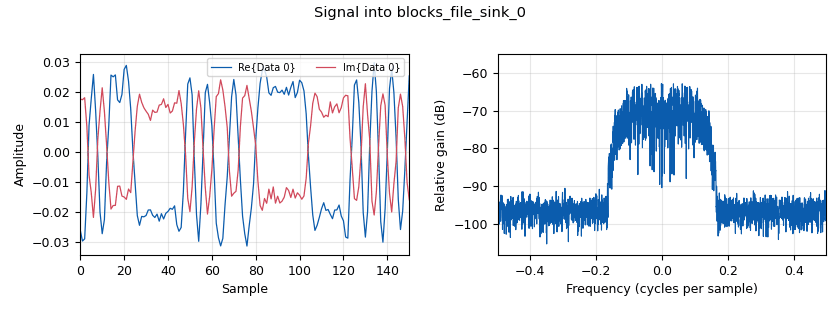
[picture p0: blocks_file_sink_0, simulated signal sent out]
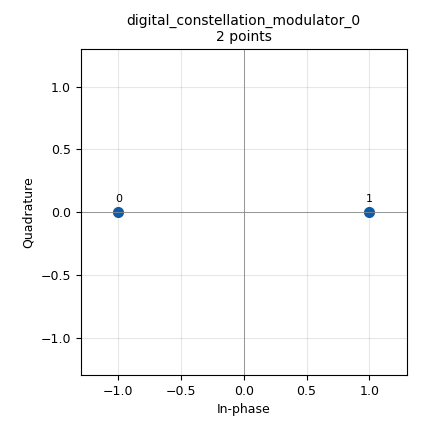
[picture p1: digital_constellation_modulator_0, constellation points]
options:
  parameters:
    generate_options: no_gui
    id: part2
    output_language: python
    run_options: run
    title: Not titled yet
  states: {}

blocks:
- name: baud_rate
  id: variable
  parameters:
    value: '1000'
  states: {}
- name: const_bpsk
  id: variable_constellation
  parameters:
    precision: '8'
    type: bpsk
  states: {}
- name: message1
  id: variable
  parameters:
    value: '"Greetings! Flag 1 is flag{cDmA_i5_fuN}. Now see what else there might be here.                 "'
  states: {}
- name: message1_bits
  id: variable
  parameters:
    value: '[int(b) for b in "".join(f"{c:08b}" for c in message1.encode())]'
  states: {}
- name: message2
  id: variable
  parameters:
    value: '"                          We meet again. Flag 2 is flag{but_wa1T_th3reS_m0re}. Until next time."'
  states: {}
- name: message2_bits
  id: variable
  parameters:
    value: '[int(b) for b in "".join(f"{c:08b}" for c in message2.encode())]'
  states: {}
- name: message3
  id: variable
  parameters:
    value: '"                              And flag 3 is flag{l0ts_0f_c0d3s!}. Bye!                         "'
  states: {}
- name: message3_bits
  id: variable
  parameters:
    value: '[int(b) for b in "".join(f"{c:08b}" for c in message3.encode())]'
  states: {}
- name: prn1
  id: variable
  parameters:
    value: '[1, 1, 0, 0, 1, 0, 0, 0, 0, 0, 1, 1, 1, 0, 0, 1, 0, 1, 0, 0, 1, 0, 0, 1, 1, 1, 1, 0, 0, 1, 0, 1, 0, 0, 0, 1, 0, 0, 1, 1, 1, 1, 1, 0, 1, 0, 1, 0, 1, 1, 0, 1, 0, 0, 0, 1, 0, 0, 0, 1, 0, 1, 0, 1, 0, 1, 0, 1, 1, 0, 0, 1, 0, 0, 0, 1, 1, 1, 1, 0, 1, 0, 0, 1, 1, 1, 1, 1, 1, 0, 1, 1, 0, 1, 1, 1, 0, 0, 1, 1, 0, 1, 1, 1, 1, 1, 0, 0, 1, 0, 1, 0, 1, 0, 1, 0, 0, 0, 0, 1, 0, 0, 0, 0, 0, 0, 0, 0, 1, 1, 1, 0, 1, 0, 1, 0, 0, 1, 0, 0, 0, 1, 0, 0, 1, 1, 0, 1, 1, 1, 1, 0, 0, 0, 0, 0, 1, 1, 1, 1, 0, 1, 0, 1, 1, 1, 0, 0, 1, 1, 0, 0, 1, 1, 1, 1, 0, 1, 1, 0, 0, 0, 0, 0, 0, 0, 1, 0, 1, 1, 1, 1, 0, 0, 1, 1, 1, 1, 1, 0, 1, 0, 1, 0, 0, 1, 1, 0, 0, 0, 1, 0, 1, 1, 0, 1, 1, 1, 0, 0, 0, 1, 1, 0, 1, 1, 1, 1, 0, 1, 0, 1, 0, 0, 0, 1, 0, 1, 0, 1, 1, 0, 0, 0, 0, 0, 1, 0, 0, 0, 0, 0, 0, 0, 0, 1, 0, 0, 0, 0, 0, 0, 1, 1, 0, 0, 0, 1, 1, 1, 0, 1, 1, 0, 0, 0, 0, 0, 0, 1, 1, 1, 0, 0, 0, 1, 1, 0, 1, 1, 1, 1, 1, 1, 1, 1, 1, 0, 1, 0, 0, 1, 1, 1, 0, 1, 0, 0, 1, 0, 1, 1, 0, 1, 1, 0, 0, 0, 0, 1, 0, 1, 0, 1, 0, 1, 1, 0, 0, 0, 1, 0, 0, 1, 1, 1, 0, 0, 1, 0, 1, 1, 0, 1, 1, 1, 0, 1, 1, 0, 0, 0, 1, 1, 1, 0, 1, 1, 1, 0, 1, 1, 1, 1, 0, 0, 0, 0, 1, 1, 0, 1, 1, 0, 0, 0, 0, 1, 1, 0, 0, 1, 0, 0, 1, 0, 0, 1, 0, 0, 0, 0, 0, 1, 1, 0, 1, 1, 0, 1, 0, 0, 1, 0, 1, 1, 0, 1, 1, 1, 1, 0, 0, 0, 1, 0, 1, 1, 1, 0, 0, 0, 0, 0, 0, 1, 0, 1, 0, 0, 1, 0, 0, 1, 1, 1, 1, 1, 1, 0, 0, 0, 0, 0, 1, 0, 1, 0, 1, 0, 1, 1, 1, 0, 0, 1, 1, 1, 1, 1, 0, 1, 0, 1, 1, 1, 1, 1, 0, 0, 1, 1, 0, 0, 1, 1, 0, 0, 0, 1, 1, 1, 0, 0, 0, 1, 1, 0, 1, 1, 0, 1, 0, 1, 0, 1, 0, 1, 1, 0, 1, 1, 0, 0, 0, 1, 1, 0, 1, 1, 1, 0, 1, 1, 1, 0, 0, 0, 0, 0, 0, 0, 0, 0, 0, 0, 1, 0, 1, 1, 0, 0, 1, 1, 0, 1, 1, 0, 0, 1, 1, 1, 0, 1, 1, 0, 1, 0, 0, 0, 0, 0, 1, 0, 1, 0, 1, 0, 1, 1, 1, 0, 1, 0, 1, 1, 1, 0, 1, 0, 0, 1, 0, 1, 0, 0, 0, 1, 1, 1, 0, 0, 1, 1, 1, 0, 0, 0, 1, 0, 0, 1, 0, 1, 0, 0, 0, 1, 0, 1, 0, 0, 1, 0, 1, 1, 0, 1, 0, 0, 0, 0, 1, 0, 1, 0, 1, 1, 0, 1, 1, 0, 1, 0, 1, 1, 0, 1, 1, 0, 0, 0, 1, 1, 1, 0, 0, 1, 1, 1, 1, 0, 1, 1, 0, 0, 1, 0, 0, 0, 0, 1, 1, 1, 1, 1, 1, 0, 0, 1, 0, 1, 1, 0, 1, 0, 0, 0, 1, 0, 0, 0, 0, 1, 1, 1, 1, 1, 0, 1, 0, 1, 0, 1, 1, 1, 0, 0, 1, 1, 0, 0, 1, 0, 0, 1, 0, 0, 1, 0, 0, 1, 0, 1, 1, 1, 1, 1, 1, 1, 1, 1, 1, 0, 0, 0, 0, 1, 1, 1, 1, 1, 0, 1, 1, 1, 1, 0, 0, 0, 1, 1, 0, 1, 1, 1, 0, 0, 1, 0, 1, 1, 0, 0, 0, 0, 1, 1, 1, 0, 0, 1, 0, 1, 0, 1, 0, 0, 0, 0, 1, 0, 1, 0, 0, 1, 0, 1, 0, 1, 1, 1, 1, 1, 1, 0, 0, 0, 1, 1, 1, 1, 0, 1, 1, 0, 1, 0, 0, 1, 1, 1, 0, 1, 1, 0, 0, 1, 1, 1, 1, 1, 1, 0, 1, 1, 1, 1, 1, 0, 1, 0, 0, 0, 1, 1, 0, 0, 0, 1, 1, 1, 1, 1, 0, 0, 0, 0, 0, 0, 0, 1, 0, 0, 1, 0, 1, 0, 0, 0, 1, 0, 1, 1, 0, 1, 0, 0, 0, 1, 0, 0, 0, 1, 0, 0, 1, 1, 0, 1, 1, 0, 0, 0, 0, 0, 0, 1, 1, 1, 0, 1, 1, 0, 1, 0, 0, 0, 1, 1, 0, 1, 0, 0, 0, 1, 0, 0, 1, 0, 0, 0, 1, 1, 1, 0, 0, 0, 1, 0, 1, 1, 0, 0, 1, 1, 0, 0, 1, 0, 0, 1, 1, 1, 1, 0, 0, 1, 1, 0, 1, 1, 1, 1, 1, 1, 0, 0, 1, 1, 0, 0, 1, 0, 1, 0, 0, 1, 1, 0, 1, 0, 0, 1, 1, 0, 1, 0, 1, 1, 1, 1, 0, 0, 1, 1, 0, 1, 1, 0, 1, 0, 1, 0, 0, 1, 1, 1, 0, 1, 1, 1, 1, 0, 0, 0, 1, 1, 0, 1, 0, 1, 0, 0, 0, 1, 0, 0, 0, 0, 1, 0, 0, 0, 1, 0, 0, 1, 0, 0, 1, 1, 1, 0, 0, 0, 0, 1, 1, 1, 0, 0, 1, 0, 1, 0, 0, 0, 1, 0, 0, 0, 0]'
  states: {}
- name: prn2
  id: variable
  parameters:
    value: '[1, 1, 1, 0, 0, 1, 0, 0, 0, 0, 1, 1, 1, 0, 0, 0, 0, 0, 1, 1, 1, 1, 1, 0, 1, 0, 0, 1, 1, 0, 0, 1, 0, 1, 1, 0, 1, 1, 1, 1, 1, 1, 0, 0, 1, 0, 1, 1, 0, 0, 1, 0, 1, 1, 1, 1, 1, 1, 1, 1, 0, 1, 0, 0, 1, 0, 1, 1, 0, 0, 0, 0, 1, 0, 0, 0, 1, 0, 0, 0, 1, 0, 1, 1, 0, 0, 0, 1, 1, 1, 1, 0, 0, 0, 1, 1, 0, 0, 0, 0, 0, 1, 1, 0, 0, 1, 1, 1, 0, 0, 0, 0, 1, 0, 0, 0, 1, 1, 1, 0, 0, 0, 1, 0, 0, 0, 1, 1, 1, 0, 1, 0, 0, 1, 1, 1, 1, 0, 0, 0, 0, 0, 1, 0, 1, 1, 0, 1, 0, 0, 0, 0, 1, 1, 0, 1, 0, 0, 1, 0, 1, 1, 1, 1, 0, 0, 0, 0, 1, 1, 1, 0, 0, 0, 0, 0, 1, 1, 1, 1, 1, 0, 0, 0, 1, 1, 0, 1, 1, 1, 0, 0, 1, 1, 0, 0, 0, 1, 1, 0, 1, 0, 1, 1, 1, 0, 0, 0, 0, 0, 0, 0, 1, 1, 1, 1, 0, 0, 0, 1, 1, 0, 1, 0, 0, 0, 1, 0, 1, 1, 1, 0, 0, 1, 0, 0, 0, 1, 1, 0, 0, 1, 1, 0, 0, 1, 1, 0, 1, 1, 0, 1, 0, 0, 1, 1, 0, 0, 0, 0, 0, 1, 0, 1, 1, 1, 1, 0, 0, 0, 1, 0, 0, 1, 0, 0, 1, 0, 1, 0, 1, 0, 0, 0, 1, 1, 0, 0, 0, 0, 0, 0, 1, 0, 1, 0, 1, 0, 1, 0, 0, 0, 0, 0, 1, 0, 0, 1, 1, 1, 1, 0, 0, 0, 0, 0, 1, 0, 0, 1, 0, 1, 1, 1, 1, 1, 1, 1, 1, 1, 1, 1, 1, 0, 1, 1, 1, 0, 1, 0, 1, 0, 1, 1, 0, 1, 0, 1, 0, 1, 0, 0, 0, 0, 0, 1, 0, 1, 0, 1, 0, 0, 1, 0, 1, 0, 1, 0, 1, 0, 1, 0, 0, 0, 0, 1, 0, 0, 1, 0, 0, 0, 1, 1, 0, 0, 1, 0, 0, 0, 0, 1, 0, 1, 0, 0, 0, 0, 1, 0, 0, 1, 0, 1, 0, 0, 1, 1, 0, 1, 1, 1, 0, 0, 0, 0, 0, 0, 1, 1, 1, 0, 0, 1, 0, 1, 0, 1, 0, 1, 0, 0, 1, 1, 0, 1, 1, 1, 0, 0, 0, 0, 0, 1, 1, 1, 1, 0, 1, 1, 1, 0, 1, 1, 0, 0, 0, 0, 0, 0, 1, 0, 0, 0, 1, 0, 0, 0, 1, 0, 1, 1, 0, 1, 0, 1, 1, 1, 0, 0, 1, 1, 0, 1, 0, 1, 0, 0, 1, 0, 0, 1, 1, 0, 0, 1, 0, 0, 1, 1, 1, 0, 1, 1, 0, 1, 1, 1, 1, 1, 0, 1, 0, 1, 1, 0, 0, 0, 0, 0, 1, 0, 0, 1, 0, 1, 1, 1, 1, 0, 0, 1, 1, 1, 0, 0, 0, 0, 1, 0, 1, 1, 0, 0, 0, 0, 1, 1, 0, 1, 0, 0, 0, 1, 1, 0, 1, 0, 1, 1, 0, 0, 0, 0, 0, 0, 1, 0, 0, 1, 0, 1, 1, 1, 0, 1, 1, 0, 0, 0, 1, 0, 1, 0, 0, 1, 0, 1, 1, 0, 1, 1, 1, 0, 1, 0, 0, 1, 0, 1, 1, 0, 1, 1, 0, 0, 1, 1, 1, 1, 1, 0, 0, 0, 0, 0, 1, 0, 0, 0, 1, 0, 0, 0, 1, 0, 1, 0, 1, 1, 0, 1, 0, 0, 1, 0, 1, 0, 0, 0, 1, 1, 1, 0, 1, 0, 0, 1, 1, 1, 0, 1, 1, 0, 0, 1, 0, 0, 1, 0, 0, 0, 1, 1, 1, 1, 1, 0, 1, 0, 1, 1, 1, 1, 1, 0, 1, 1, 1, 1, 0, 1, 1, 0, 0, 0, 1, 1, 1, 0, 1, 0, 1, 1, 1, 0, 1, 0, 1, 0, 0, 1, 1, 0, 1, 1, 1, 1, 0, 0, 1, 1, 0, 1, 0, 1, 0, 0, 1, 0, 1, 1, 1, 0, 1, 0, 1, 1, 1, 1, 0, 0, 0, 0, 0, 1, 1, 1, 1, 0, 1, 1, 1, 1, 1, 0, 1, 1, 0, 1, 1, 1, 1, 0, 1, 0, 0, 0, 1, 1, 1, 1, 1, 0, 0, 1, 1, 0, 1, 1, 0, 1, 1, 1, 1, 0, 0, 0, 1, 0, 0, 0, 0, 1, 0, 1, 1, 0, 1, 0, 1, 1, 0, 1, 0, 0, 0, 0, 1, 1, 1, 1, 0, 0, 1, 1, 0, 0, 1, 0, 1, 1, 0, 0, 1, 1, 0, 0, 0, 0, 0, 1, 1, 0, 0, 0, 0, 1, 0, 0, 0, 0, 1, 1, 1, 1, 1, 1, 0, 1, 0, 1, 1, 0, 0, 1, 1, 1, 1, 1, 0, 1, 0, 0, 1, 1, 0, 0, 1, 1, 1, 0, 1, 0, 1, 0, 0, 0, 1, 0, 1, 1, 1, 1, 0, 1, 0, 0, 0, 0, 1, 1, 0, 0, 1, 1, 1, 1, 1, 0, 1, 0, 0, 0, 0, 0, 1, 0, 0, 1, 1, 1, 1, 0, 1, 0, 0, 1, 1, 0, 0, 1, 0, 1, 1, 1, 1, 1, 0, 1, 1, 1, 0, 0, 1, 0, 1, 1, 0, 1, 1, 0, 1, 0, 0, 1, 1, 1, 1, 0, 1, 1, 0, 0, 1, 1, 1, 0, 0, 1, 1, 1, 1, 0, 0, 1, 0, 1, 1, 0, 1, 1, 1, 0, 0, 1, 1, 0, 0, 1, 1, 0, 1, 0, 1, 1, 1, 1, 1, 0, 1, 1, 1, 1, 0, 1, 1, 0, 1, 0, 0, 1, 0, 1, 0, 0, 1, 0, 1, 1, 0, 1, 0, 0, 0, 0, 0, 0, 1, 0, 1, 0, 0, 0, 0, 1, 1, 0, 0, 1, 0, 0, 0]'
  states: {}
- name: prn3
  id: variable
  parameters:
    value: '[1, 1, 1, 1, 0, 0, 1, 0, 0, 0, 1, 1, 1, 0, 0, 0, 1, 0, 0, 0, 0, 1, 0, 1, 0, 0, 1, 0, 0, 1, 1, 1, 0, 1, 0, 1, 0, 0, 0, 1, 1, 1, 0, 1, 1, 0, 1, 1, 1, 1, 0, 1, 0, 0, 0, 0, 1, 0, 0, 0, 0, 1, 0, 0, 0, 1, 0, 0, 0, 1, 0, 0, 0, 1, 0, 0, 0, 0, 1, 1, 1, 0, 1, 0, 0, 1, 1, 0, 1, 1, 0, 0, 1, 0, 0, 1, 0, 0, 0, 1, 1, 1, 1, 0, 1, 0, 1, 0, 1, 1, 0, 1, 1, 0, 0, 1, 1, 0, 0, 1, 1, 0, 1, 1, 0, 0, 1, 0, 0, 0, 0, 0, 0, 0, 0, 1, 0, 1, 1, 0, 0, 0, 0, 1, 1, 1, 0, 1, 0, 1, 1, 1, 1, 0, 1, 1, 1, 1, 0, 0, 0, 0, 1, 0, 0, 1, 1, 0, 1, 1, 1, 1, 0, 1, 1, 1, 0, 0, 1, 1, 0, 1, 0, 0, 1, 0, 1, 0, 0, 1, 0, 1, 0, 0, 1, 1, 1, 0, 1, 0, 1, 0, 1, 1, 0, 1, 1, 1, 0, 0, 0, 1, 1, 1, 1, 0, 0, 1, 1, 1, 0, 1, 0, 0, 0, 1, 0, 0, 0, 0, 1, 1, 1, 1, 1, 0, 1, 1, 1, 1, 1, 0, 0, 1, 0, 1, 0, 0, 1, 0, 1, 1, 1, 0, 1, 0, 0, 0, 0, 0, 0, 1, 1, 0, 1, 0, 0, 1, 1, 1, 0, 1, 1, 0, 1, 0, 1, 1, 1, 1, 0, 0, 1, 0, 1, 0, 0, 1, 0, 1, 1, 1, 0, 0, 0, 0, 0, 0, 1, 0, 0, 0, 1, 1, 0, 1, 1, 1, 0, 1, 0, 0, 1, 0, 1, 1, 1, 1, 0, 1, 0, 1, 1, 0, 1, 0, 1, 1, 0, 0, 0, 1, 0, 1, 0, 1, 1, 1, 1, 0, 1, 0, 0, 0, 0, 0, 0, 1, 0, 0, 1, 0, 0, 1, 1, 0, 1, 0, 0, 0, 1, 1, 0, 0, 0, 1, 1, 1, 1, 0, 0, 1, 1, 1, 0, 1, 1, 0, 0, 0, 0, 0, 0, 0, 1, 1, 1, 1, 1, 0, 0, 1, 1, 1, 0, 1, 0, 1, 0, 1, 1, 1, 1, 0, 1, 1, 0, 0, 0, 0, 1, 1, 1, 0, 0, 1, 0, 1, 0, 1, 0, 1, 0, 1, 1, 1, 0, 1, 0, 1, 1, 1, 1, 0, 0, 0, 1, 1, 0, 1, 0, 0, 0, 1, 0, 1, 0, 0, 1, 1, 0, 0, 0, 1, 1, 0, 1, 1, 1, 1, 0, 1, 1, 0, 0, 0, 1, 1, 0, 1, 1, 1, 0, 1, 1, 0, 1, 0, 1, 0, 0, 1, 0, 1, 1, 1, 0, 1, 1, 0, 1, 1, 1, 1, 1, 1, 0, 0, 0, 1, 0, 0, 0, 0, 1, 1, 1, 1, 0, 1, 0, 0, 1, 0, 1, 0, 0, 0, 0, 0, 1, 1, 0, 1, 1, 1, 0, 1, 0, 0, 1, 1, 0, 1, 0, 0, 1, 1, 1, 1, 0, 1, 0, 0, 1, 1, 1, 1, 1, 1, 1, 0, 0, 0, 0, 0, 1, 0, 1, 1, 0, 1, 0, 1, 0, 1, 0, 0, 0, 0, 1, 1, 1, 0, 0, 1, 0, 1, 1, 1, 0, 1, 1, 0, 1, 0, 1, 1, 0, 0, 1, 0, 1, 1, 0, 1, 0, 1, 0, 1, 1, 1, 1, 1, 1, 1, 0, 0, 1, 0, 0, 1, 0, 1, 0, 1, 1, 0, 1, 0, 0, 0, 0, 1, 1, 0, 0, 1, 0, 1, 1, 1, 1, 1, 0, 0, 1, 1, 1, 1, 0, 1, 0, 0, 0, 1, 0, 0, 0, 0, 1, 1, 1, 0, 1, 0, 0, 1, 1, 1, 1, 0, 0, 1, 0, 1, 0, 1, 1, 0, 1, 0, 0, 0, 1, 0, 0, 1, 1, 0, 0, 1, 1, 1, 1, 1, 0, 0, 0, 0, 0, 1, 1, 1, 0, 1, 0, 1, 1, 0, 0, 1, 1, 1, 0, 1, 1, 1, 0, 1, 0, 1, 0, 0, 1, 1, 1, 0, 0, 0, 0, 1, 1, 1, 0, 0, 0, 1, 0, 0, 1, 1, 1, 0, 1, 0, 1, 0, 0, 0, 1, 1, 1, 0, 0, 1, 1, 1, 0, 0, 0, 0, 1, 1, 0, 1, 1, 0, 1, 0, 0, 1, 0, 0, 0, 1, 1, 1, 0, 0, 0, 0, 1, 1, 1, 0, 0, 0, 1, 0, 1, 1, 1, 1, 0, 0, 0, 0, 1, 1, 0, 1, 0, 1, 0, 1, 0, 0, 0, 1, 1, 1, 0, 1, 1, 1, 0, 1, 0, 0, 1, 1, 1, 0, 1, 1, 0, 0, 0, 0, 1, 0, 1, 0, 1, 0, 0, 1, 1, 0, 0, 0, 0, 0, 0, 1, 0, 1, 1, 1, 1, 0, 0, 0, 1, 1, 1, 0, 0, 0, 0, 1, 1, 0, 0, 0, 1, 1, 0, 0, 1, 0, 1, 1, 1, 1, 0, 0, 0, 0, 0, 0, 1, 1, 1, 0, 1, 0, 0, 1, 0, 0, 0, 0, 1, 0, 1, 0, 0, 0, 1, 1, 0, 1, 1, 1, 1, 1, 0, 0, 0, 1, 1, 1, 1, 0, 1, 1, 0, 0, 0, 1, 0, 0, 1, 1, 0, 0, 0, 0, 0, 1, 0, 1, 0, 0, 0, 0, 1, 0, 1, 1, 1, 0, 0, 0, 0, 0, 1, 0, 1, 1, 1, 0, 0, 1, 0, 0, 0, 0, 1, 1, 1, 1, 0, 0, 0, 1, 1, 0, 1, 1, 0, 0, 0, 1, 1, 0, 1, 1, 1, 0, 0, 0, 1, 0, 0, 1, 1, 1, 0, 0, 1, 0, 1, 1, 1, 1, 1, 1, 0, 0, 1, 1, 1, 1, 1, 1, 0, 0, 1, 0, 0, 1, 0, 0, 0, 0, 0, 0, 0, 1, 0, 1, 0, 0, 0, 1, 0, 0, 1, 0, 0]'
  states: {}
- name: samp_rate
  id: variable
  parameters:
    value: baud_rate * len(prn1) * sps
  states: {}
- name: sps
  id: variable
  parameters:
    value: '4'
  states: {}
- name: analog_noise_source_x_0
  id: analog_noise_source_x
  parameters:
    amp: '10'
    noise_type: analog.GR_GAUSSIAN
    seed: '0'
    type: complex
  states: {}
- name: blocks_add_xx_0
  id: blocks_add_xx
  parameters:
    num_inputs: '4'
    type: complex
  states: {}
- name: blocks_delay_0
  id: blocks_delay
  parameters:
    delay: 419 * sps + 3
    type: complex
  states: {}
- name: blocks_delay_0_0
  id: blocks_delay
  parameters:
    delay: 171 * sps + 1
    type: complex
  states: {}
- name: blocks_file_sink_0
  id: blocks_file_sink
  parameters:
    file: gold2.sigmf-data
    type: complex
  states: {}
- name: blocks_moving_average_xx_0
  id: blocks_moving_average_xx
  parameters:
    length: '100000'
    max_iter: '4000'
    scale: 1/100000
    type: complex
  states: {}
- name: blocks_multiply_const_vxx_0
  id: blocks_multiply_const_vxx
  parameters:
    const: '0.025'
    type: complex
  states: {}
- name: blocks_multiply_xx_0
  id: blocks_multiply_xx
  parameters:
    type: complex
  states: {}
- name: blocks_multiply_xx_1
  id: blocks_multiply_xx
  parameters:
    type: complex
  states: {}
- name: blocks_multiply_xx_1_0
  id: blocks_multiply_xx
  parameters:
    type: complex
  states: {}
- name: blocks_multiply_xx_2
  id: blocks_multiply_xx
  parameters:
    type: complex
  states: {}
- name: blocks_repeat_0
  id: blocks_repeat
  parameters:
    interp: 8 * len(prn1) * sps
    type: complex
  states: {}
- name: blocks_repeat_0_0
  id: blocks_repeat
  parameters:
    interp: 8 * len(prn2) * sps
    type: complex
  states: {}
- name: blocks_repeat_0_0_0
  id: blocks_repeat
  parameters:
    interp: 8 * len(prn2) * sps
    type: complex
  states: {}
- name: blocks_repeat_0_1
  id: blocks_repeat
  parameters:
    interp: 8 * len(prn1) * sps
    type: complex
  states: {}
- name: blocks_unpacked_to_packed_xx_0
  id: blocks_unpacked_to_packed_xx
  parameters:
    bits_per_chunk: '1'
    endianness: gr.GR_MSB_FIRST
    type: byte
  states: {}
- name: blocks_unpacked_to_packed_xx_0_0
  id: blocks_unpacked_to_packed_xx
  parameters:
    bits_per_chunk: '1'
    endianness: gr.GR_MSB_FIRST
    type: byte
  states: {}
- name: blocks_unpacked_to_packed_xx_0_0_0
  id: blocks_unpacked_to_packed_xx
  parameters:
    bits_per_chunk: '1'
    endianness: gr.GR_MSB_FIRST
    type: byte
  states: {}
- name: blocks_vector_source_x_0
  id: blocks_vector_source_x
  parameters:
    repeat: 'False'
    type: byte
    vector: message1_bits
  states: {}
- name: blocks_vector_source_x_0_0
  id: blocks_vector_source_x
  parameters:
    repeat: 'False'
    type: byte
    vector: message2_bits
  states: {}
- name: blocks_vector_source_x_0_0_0
  id: blocks_vector_source_x
  parameters:
    repeat: 'False'
    type: byte
    vector: message3_bits
  states: {}
- name: blocks_vector_source_x_1
  id: blocks_vector_source_x
  parameters:
    repeat: 'True'
    type: complex
    vector: '[1] * 78 + [0] * 17'
  states: {}
- name: blocks_vector_source_x_2
  id: blocks_vector_source_x
  parameters:
    repeat: 'True'
    type: complex
    vector: '[0] * 26 + [1] * 69'
  states: {}
- name: blocks_vector_source_x_2_0
  id: blocks_vector_source_x
  parameters:
    repeat: 'True'
    type: complex
    vector: '[0] * 30 + [1] * 40 + [0] * 25'
  states: {}
- name: blocks_vector_source_x_3
  id: blocks_vector_source_x
  parameters:
    repeat: 'True'
    type: complex
    vector: '[0.01] * 35 + [1] * 33 + [0.01] * 29'
  states: {}
- name: channels_cfo_model_0
  id: channels_cfo_model
  parameters:
    maxdev: '1000'
    seed: '0'
    srate: samp_rate
    stdev: '0.01'
  states: {}
- name: channels_cfo_model_0_0
  id: channels_cfo_model
  parameters:
    maxdev: '1000'
    seed: '1'
    srate: samp_rate
    stdev: '0.01'
  states: {}
- name: channels_cfo_model_0_0_0
  id: channels_cfo_model
  parameters:
    maxdev: '1000'
    seed: '2'
    srate: samp_rate
    stdev: '0.01'
  states: {}
- name: digital_constellation_modulator_0
  id: digital_constellation_modulator
  parameters:
    constellation: const_bpsk
    differential: 'False'
    excess_bw: '0.35'
    samples_per_symbol: sps
  states: {}
- name: digital_constellation_modulator_0_0
  id: digital_constellation_modulator
  parameters:
    constellation: const_bpsk
    differential: 'False'
    excess_bw: '0.35'
    samples_per_symbol: sps
  states: {}
- name: digital_constellation_modulator_0_0_0
  id: digital_constellation_modulator
  parameters:
    constellation: const_bpsk
    differential: 'False'
    excess_bw: '0.35'
    samples_per_symbol: sps
  states: {}
- name: epy_block_0
  id: epy_block
  parameters:
    _source_code: |
      import numpy as np
      from gnuradio import gr


      class blk(gr.interp_block):
          """Spread a message using a CDMA chip sequence"""

          def __init__(self, chip_sequence=[0, 1]):
              gr.interp_block.__init__(
                  self,
                  name='CDMA Spread',
                  in_sig=[np.byte],
                  out_sig=[np.byte],
                  interp=len(chip_sequence)
              )
              self.chip_sequence = np.array(chip_sequence, dtype=np.byte)

          def work(self, input_items, output_items):
              l = len(self.chip_sequence)
              for i, bit in enumerate(input_items[0]):
                  output_items[0][i*l:(i+1)*l] = self.chip_sequence ^ bit
              return len(output_items[0])
    chip_sequence: prn1
  states: {}
- name: epy_block_0_0
  id: epy_block
  parameters:
    _source_code: |
      import numpy as np
      from gnuradio import gr


      class blk(gr.interp_block):
          """Spread a message using a CDMA chip sequence"""

          def __init__(self, chip_sequence=[0, 1]):
              gr.interp_block.__init__(
                  self,
                  name='CDMA Spread',
                  in_sig=[np.byte],
                  out_sig=[np.byte],
                  interp=len(chip_sequence)
              )
              self.chip_sequence = np.array(chip_sequence, dtype=np.byte)

          def work(self, input_items, output_items):
              l = len(self.chip_sequence)
              for i, bit in enumerate(input_items[0]):
                  output_items[0][i*l:(i+1)*l] = self.chip_sequence ^ bit
              return len(output_items[0])
    chip_sequence: prn2
  states: {}
- name: epy_block_0_0_0
  id: epy_block
  parameters:
    _source_code: |
      import numpy as np
      from gnuradio import gr


      class blk(gr.interp_block):
          """Spread a message using a CDMA chip sequence"""

          def __init__(self, chip_sequence=[0, 1]):
              gr.interp_block.__init__(
                  self,
                  name='CDMA Spread',
                  in_sig=[np.byte],
                  out_sig=[np.byte],
                  interp=len(chip_sequence)
              )
              self.chip_sequence = np.array(chip_sequence, dtype=np.byte)

          def work(self, input_items, output_items):
              l = len(self.chip_sequence)
              for i, bit in enumerate(input_items[0]):
                  output_items[0][i*l:(i+1)*l] = self.chip_sequence ^ bit
              return len(output_items[0])
    chip_sequence: prn3
  states: {}
- name: pfb_arb_resampler_xxx_0
  id: pfb_arb_resampler_xxx
  parameters:
    atten: '100'
    nfilts: '32'
    rrate: '1.0000199514339487'
    type: ccf
  states: {}
- name: pfb_arb_resampler_xxx_0_0
  id: pfb_arb_resampler_xxx
  parameters:
    atten: '100'
    nfilts: '32'
    rrate: '0.9999761008745096'
    type: ccf
  states: {}
- name: pfb_arb_resampler_xxx_0_0_0
  id: pfb_arb_resampler_xxx
  parameters:
    atten: '100'
    nfilts: '32'
    rrate: '1.000011532513674'
    type: ccf
  states: {}

connections:
- [analog_noise_source_x_0, '0', blocks_multiply_xx_2, '0']
- [blocks_add_xx_0, '0', blocks_multiply_const_vxx_0, '0']
- [blocks_delay_0, '0', pfb_arb_resampler_xxx_0, '0']
- [blocks_delay_0_0, '0', pfb_arb_resampler_xxx_0_0_0, '0']
- [blocks_moving_average_xx_0, '0', blocks_multiply_xx_2, '1']
- [blocks_multiply_const_vxx_0, '0', blocks_file_sink_0, '0']
- [blocks_multiply_xx_0, '0', blocks_delay_0, '0']
- [blocks_multiply_xx_1, '0', pfb_arb_resampler_xxx_0_0, '0']
- [blocks_multiply_xx_1_0, '0', blocks_delay_0_0, '0']
- [blocks_multiply_xx_2, '0', blocks_add_xx_0, '0']
- [blocks_repeat_0, '0', blocks_multiply_xx_0, '1']
- [blocks_repeat_0_0, '0', blocks_multiply_xx_1, '0']
- [blocks_repeat_0_0_0, '0', blocks_multiply_xx_1_0, '0']
- [blocks_repeat_0_1, '0', blocks_moving_average_xx_0, '0']
- [blocks_unpacked_to_packed_xx_0, '0', digital_constellation_modulator_0, '0']
- [blocks_unpacked_to_packed_xx_0_0, '0', digital_constellation_modulator_0_0, '0']
- [blocks_unpacked_to_packed_xx_0_0_0, '0', digital_constellation_modulator_0_0_0, '0']
- [blocks_vector_source_x_0, '0', epy_block_0, '0']
- [blocks_vector_source_x_0_0, '0', epy_block_0_0, '0']
- [blocks_vector_source_x_0_0_0, '0', epy_block_0_0_0, '0']
- [blocks_vector_source_x_1, '0', blocks_repeat_0, '0']
- [blocks_vector_source_x_2, '0', blocks_repeat_0_0, '0']
- [blocks_vector_source_x_2_0, '0', blocks_repeat_0_0_0, '0']
- [blocks_vector_source_x_3, '0', blocks_repeat_0_1, '0']
- [channels_cfo_model_0, '0', blocks_add_xx_0, '1']
- [channels_cfo_model_0_0, '0', blocks_add_xx_0, '2']
- [channels_cfo_model_0_0_0, '0', blocks_add_xx_0, '3']
- [digital_constellation_modulator_0, '0', blocks_multiply_xx_0, '0']
- [digital_constellation_modulator_0_0, '0', blocks_multiply_xx_1, '1']
- [digital_constellation_modulator_0_0_0, '0', blocks_multiply_xx_1_0, '1']
- [epy_block_0, '0', blocks_unpacked_to_packed_xx_0, '0']
- [epy_block_0_0, '0', blocks_unpacked_to_packed_xx_0_0, '0']
- [epy_block_0_0_0, '0', blocks_unpacked_to_packed_xx_0_0_0, '0']
- [pfb_arb_resampler_xxx_0, '0', channels_cfo_model_0, '0']
- [pfb_arb_resampler_xxx_0_0, '0', channels_cfo_model_0_0, '0']
- [pfb_arb_resampler_xxx_0_0_0, '0', channels_cfo_model_0_0_0, '0']

metadata:
  file_format: 1
  grc_version: 3.10.7.0
